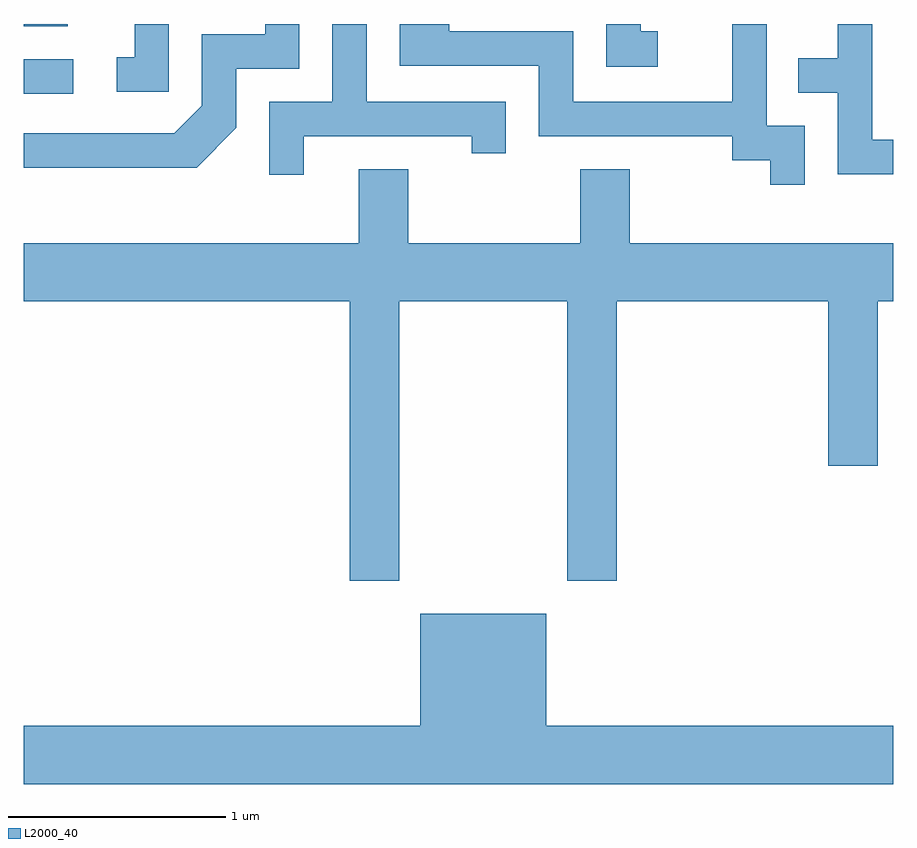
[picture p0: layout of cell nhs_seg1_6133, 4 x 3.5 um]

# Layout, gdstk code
import gdstk
lib = gdstk.Library(unit=1e-6, precision=1e-09)
def R(c, l, rs):  # rectangles x0, y0, x1, y1
    for r in rs: c.add(gdstk.rectangle(r[:2], r[2:], *l))
def P(c, l, *ps):  # polygons
    for p in ps: c.add(gdstk.Polygon(p, *l))
L2000_40 = (2000, 40)

nhs_seg1_6133 = lib.new_cell('nhs_seg1_6133')
R(nhs_seg1_6133, L2000_40, [(369.611,929.391,369.838,929.549), (369.611,929.701,369.814,929.712)])
P(nhs_seg1_6133, L2000_40, [(370.279,929.712),(370.121,929.712),(370.121,929.559),(370.038,929.559),(370.038,929.401),(370.279,929.401)],
  [(373.611,929.179),(373.514,929.179),(373.514,929.712),(373.356,929.712),(373.356,929.554),(373.173,929.554),(373.173,929.396),(373.356,929.396),(373.356,929.021),(373.611,929.021)],
  [(370.899,929.196),(371.671,929.196),(371.671,929.118),(371.829,929.118),(371.829,929.354),(371.189,929.354),(371.189,929.712),(371.031,929.712),(371.031,929.354),(370.741,929.354),(370.741,929.018),(370.899,929.018)],
  [(372.528,929.679),(372.449,929.679),(372.449,929.712),(372.291,929.712),(372.291,929.516),(372.528,929.516)],
  [(370.589,929.234),(370.589,929.506),(370.879,929.506),(370.879,929.712),(370.721,929.712),(370.721,929.664),(370.431,929.664),(370.431,929.337),(370.304,929.209),(369.611,929.209),(369.611,929.051),(370.407,929.051)],
  [(373.204,929.244),(373.029,929.244),(373.029,929.712),(372.871,929.712),(372.871,929.354),(372.139,929.354),(372.139,929.679),(371.569,929.679),(371.569,929.712),(371.341,929.712),(371.341,929.521),(371.981,929.521),(371.981,929.196),(372.871,929.196),(372.871,929.086),(373.046,929.086),(373.046,928.973),(373.204,928.973)],
  [(371.339,928.436),(372.111,928.436),(372.111,927.151),(372.339,927.151),(372.339,928.436),(373.311,928.436),(373.311,927.681),(373.539,927.681),(373.539,928.436),(373.611,928.436),(373.611,928.704),(372.399,928.704),(372.399,929.044),(372.171,929.044),(372.171,928.704),(371.379,928.704),(371.379,929.044),(371.151,929.044),(371.151,928.704),(369.611,928.704),(369.611,928.436),(371.111,928.436),(371.111,927.151),(371.339,927.151)],
  [(373.611,926.484),(372.014,926.484),(372.014,926.999),(371.436,926.999),(371.436,926.484),(369.611,926.484),(369.611,926.216),(373.611,926.216)])

lib.write_gds('nhs_seg1_6133.gds')
